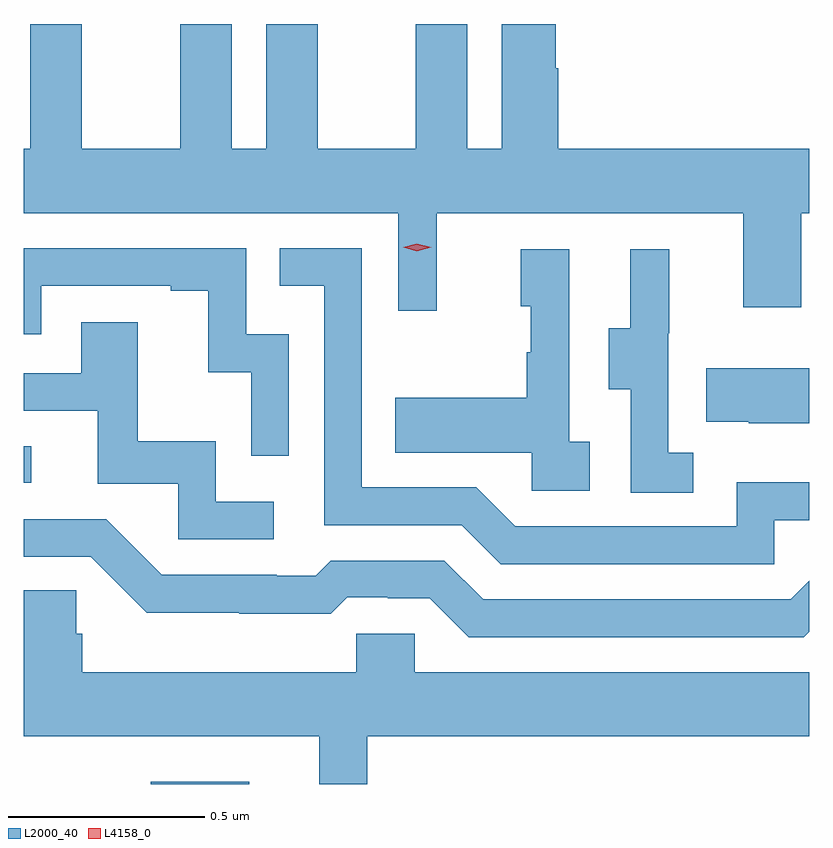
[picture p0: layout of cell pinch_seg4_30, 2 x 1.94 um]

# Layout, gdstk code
import gdstk
lib = gdstk.Library(unit=1e-6, precision=1e-09)
def R(c, l, rs):  # rectangles x0, y0, x1, y1
    for r in rs: c.add(gdstk.rectangle(r[:2], r[2:], *l))
def P(c, l, *ps):  # polygons
    for p in ps: c.add(gdstk.Polygon(p, *l))
L2000_40 = (2000, 40)
L4158_0 = (4158, 0)

pinch_seg4_30 = lib.new_cell('pinch_seg4_30')
R(pinch_seg4_30, L2000_40, [(1138.166,828.667,1138.417,828.673), (1137.843,829.434,1137.862,829.527)])
P(pinch_seg4_30, L2000_40, [(1138.895,830.12),(1139.675,830.12),(1139.675,829.881),(1139.823,829.881),(1139.823,830.12),(1139.843,830.12),(1139.843,830.284),(1139.204,830.284),(1139.204,830.489),(1139.197,830.489),(1139.197,830.602),(1139.06,830.602),(1139.06,830.284),(1138.972,830.284),(1138.972,830.602),(1138.841,830.602),(1138.841,830.284),(1138.591,830.284),(1138.591,830.602),(1138.46,830.602),(1138.46,830.284),(1138.372,830.284),(1138.372,830.602),(1138.241,830.602),(1138.241,830.284),(1137.991,830.284),(1137.991,830.602),(1137.86,830.602),(1137.86,830.284),(1137.843,830.284),(1137.843,830.12),(1138.797,830.12),(1138.797,829.872),(1138.895,829.872)],
  [(1139.754,829.338),(1139.843,829.338),(1139.843,829.435),(1139.658,829.435),(1139.658,829.323),(1139.094,829.323),(1138.995,829.422),(1138.704,829.422),(1138.704,830.031),(1138.495,830.031),(1138.495,829.935),(1138.608,829.935),(1138.608,829.326),(1138.958,829.326),(1139.057,829.227),(1139.754,829.227)],
  [(1138.518,829.812),(1138.41,829.812),(1138.41,830.031),(1137.843,830.031),(1137.843,829.812),(1137.888,829.812),(1137.888,829.935),(1138.217,829.935),(1138.217,829.923),(1138.313,829.923),(1138.313,829.715),(1138.422,829.715),(1138.422,829.503),(1138.518,829.503)],
  [(1139.284,829.538),(1139.232,829.538),(1139.232,830.029),(1139.108,830.029),(1139.108,829.884),(1139.134,829.884),(1139.134,829.766),(1139.124,829.766),(1139.124,829.651),(1138.789,829.651),(1138.789,829.511),(1139.136,829.511),(1139.136,829.413),(1139.284,829.413)],
  [(1139.548,829.511),(1139.484,829.511),(1139.484,829.815),(1139.486,829.815),(1139.486,830.029),(1139.387,830.029),(1139.387,829.827),(1139.333,829.827),(1139.333,829.672),(1139.388,829.672),(1139.388,829.408),(1139.548,829.408)],
  [(1138.48,829.386),(1138.332,829.386),(1138.332,829.54),(1138.133,829.54),(1138.133,829.843),(1137.989,829.843),(1137.989,829.713),(1137.843,829.713),(1137.843,829.617),(1138.031,829.617),(1138.031,829.431),(1138.236,829.431),(1138.236,829.29),(1138.48,829.29)],
  [(1139.843,829.726),(1139.581,829.726),(1139.581,829.589),(1139.689,829.589),(1139.689,829.586),(1139.843,829.586)],
  [(1139.843,829.055),(1139.843,829.184),(1139.796,829.137),(1139.013,829.137),(1138.914,829.236),(1138.625,829.236),(1138.586,829.197),(1138.487,829.197),(1138.487,829.2),(1138.194,829.2),(1138.053,829.341),(1137.843,829.341),(1137.843,829.245),(1138.014,829.245),(1138.156,829.103),(1138.392,829.103),(1138.392,829.101),(1138.625,829.101),(1138.667,829.143),(1138.77,829.143),(1138.77,829.14),(1138.877,829.14),(1138.976,829.041),(1139.829,829.041)],
  [(1138.717,828.788),(1139.843,828.788),(1139.843,828.952),(1138.839,828.952),(1138.839,829.05),(1138.689,829.05),(1138.689,828.952),(1137.992,828.952),(1137.992,829.05),(1137.977,829.05),(1137.977,829.16),(1137.843,829.16),(1137.843,828.788),(1138.595,828.788),(1138.595,828.667),(1138.717,828.667)])
P(pinch_seg4_30, L4158_0, [(1138.844,830.023),(1138.809,830.033),(1138.809,830.033),(1138.809,830.034),(1138.844,830.043),(1138.88,830.034),(1138.88,830.033),(1138.88,830.033)])

lib.write_gds('pinch_seg4_30.gds')
